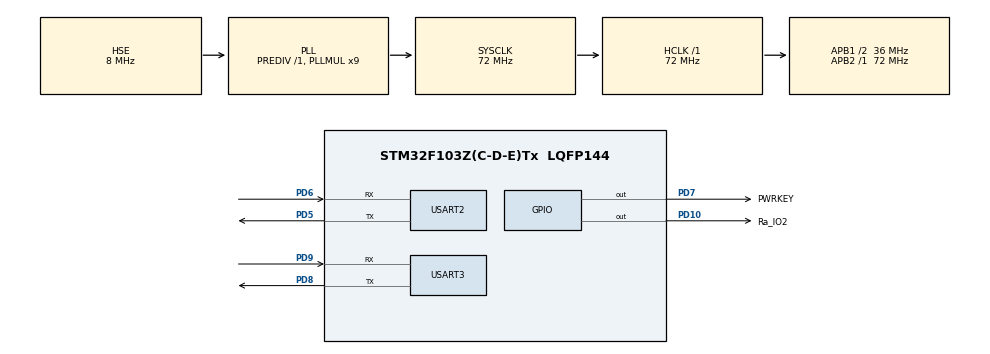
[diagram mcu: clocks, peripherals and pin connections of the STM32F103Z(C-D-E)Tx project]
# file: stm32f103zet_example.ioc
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Dma.Request0=USART2_RX
Dma.Request1=USART3_RX
Dma.USART2_RX.0.Direction=DMA_PERIPH_TO_MEMORY
Dma.USART2_RX.0.Instance=DMA1_Channel6
Dma.USART2_RX.0.MemDataAlignment=DMA_MDATAALIGN_BYTE
Dma.USART2_RX.0.MemInc=DMA_MINC_ENABLE
Dma.USART2_RX.0.Mode=DMA_NORMAL
Dma.USART2_RX.0.PeriphDataAlignment=DMA_PDATAALIGN_BYTE
Dma.USART2_RX.0.PeriphInc=DMA_PINC_DISABLE
Dma.USART2_RX.0.Priority=DMA_PRIORITY_LOW
Dma.USART3_RX.1.Direction=DMA_PERIPH_TO_MEMORY
Dma.USART3_RX.1.Instance=DMA1_Channel3
Dma.USART3_RX.1.MemDataAlignment=DMA_MDATAALIGN_BYTE
Dma.USART3_RX.1.MemInc=DMA_MINC_ENABLE
Dma.USART3_RX.1.Mode=DMA_NORMAL
Dma.USART3_RX.1.PeriphDataAlignment=DMA_PDATAALIGN_BYTE
Dma.USART3_RX.1.PeriphInc=DMA_PINC_DISABLE
Dma.USART3_RX.1.Priority=DMA_PRIORITY_HIGH
Mcu.Family=STM32F1
Mcu.Name=STM32F103Z(C-D-E)Tx
Mcu.Package=LQFP144
NVIC.DMA1_Channel3_IRQn=true\:0\:0\:false\:false\:true\:false\:true\:true
NVIC.DMA1_Channel6_IRQn=true\:4\:0\:true\:false\:true\:false\:true\:true
NVIC.PriorityGroup=NVIC_PRIORITYGROUP_4
NVIC.USART2_IRQn=true\:4\:0\:true\:false\:true\:true\:true\:true
OSC_IN.Mode=HSE-External-Oscillator
OSC_IN.Signal=RCC_OSC_IN
OSC_OUT.Mode=HSE-External-Oscillator
OSC_OUT.Signal=RCC_OSC_OUT
PA13.Mode=Serial_Wire
PA13.Signal=SYS_JTMS-SWDIO
PA14.Mode=Serial_Wire
PA14.Signal=SYS_JTCK-SWCLK
PD10.GPIO_Label=Ra_IO2
PD10.Signal=GPIO_Output
PD5.Mode=Asynchronous
PD5.Signal=USART2_TX
PD6.Mode=Asynchronous
PD6.Signal=USART2_RX
PD7.GPIO_Label=PWRKEY
PD7.GPIO_ModeDefaultOutputPP=GPIO_MODE_OUTPUT_OD
PD7.GPIO_PuPd=GPIO_NOPULL
PD7.PinState=GPIO_PIN_RESET
PD7.Signal=GPIO_Output
PD8.Mode=Asynchronous
PD8.Signal=USART3_TX
PD9.Mode=Asynchronous
PD9.Signal=USART3_RX
ProjectManager.HeapSize=0x200
ProjectManager.StackSize=0x400
ProjectManager.TargetToolchain=MDK-ARM V5.32
RCC.AHBFreq_Value=72000000
RCC.APB1CLKDivider=RCC_HCLK_DIV2
RCC.APB1Freq_Value=36000000
RCC.APB1TimFreq_Value=72000000
RCC.APB2Freq_Value=72000000
RCC.APB2TimFreq_Value=72000000
RCC.HCLKFreq_Value=72000000
RCC.PLLMUL=RCC_PLL_MUL9
RCC.PLLSourceVirtual=RCC_PLLSOURCE_HSE
RCC.SYSCLKFreq_VALUE=72000000
RCC.SYSCLKSource=RCC_SYSCLKSOURCE_PLLCLK
RCC.USBFreq_Value=72000000
USART2.VirtualMode=VM_ASYNC
USART3.VirtualMode=VM_ASYNC
board=custom

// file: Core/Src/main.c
/* USER CODE BEGIN Header */
/**
  ******************************************************************************
  * @file           : main.c
  * @brief          : Main program body
  ******************************************************************************
  * @attention
  *
  * Copyright (c) 2026 STMicroelectronics.
  * All rights reserved.
  *
  * This software is licensed under terms that can be found in the LICENSE file
  * in the root directory of this software component.
  * If no LICENSE file comes with this software, it is provided AS-IS.
  *
  ******************************************************************************
  */
/* USER CODE END Header */
#include "main.h"
#include "dma.h"
#include "usart.h"
#include "gpio.h"

void SystemClock_Config(void);

/* USER CODE BEGIN 0 */
 uint32_t last_1ms = 0, last_10ms = 0, last_100ms = 0;
/* USER CODE END 0 */

int main(void)
{

  /* MCU Configuration--------------------------------------------------------*/

  /* Reset of all peripherals, Initializes the Flash interface and the Systick. */
  HAL_Init();

  /* Configure the system clock */
  SystemClock_Config();

  /* Initialize all configured peripherals */
  MX_GPIO_Init();
  MX_DMA_Init();
  MX_USART2_UART_Init();
  MX_USART3_UART_Init();
  /* USER CODE BEGIN 2 */

#if A7680C_ENABLE
  //a7680c_Init();
  U2_Init();
#endif
  /* USER CODE END 2 */

  /* Infinite loop */
  while (1)
  {

    /* USER CODE BEGIN 3 */
    uint32_t now = HAL_GetTick();
    if (now - last_1ms >= 1)
    {
        last_1ms = now;
        // 1ms 任务
    }
    now = HAL_GetTick();
    if (now - last_10ms >= 10)
    {
        last_10ms = now;
        // 10ms 任务
    }
    now = HAL_GetTick();
    if (now - last_100ms >= 100)
    {
        last_100ms = now;

#if A7680C_ENABLE
        //a7680c_Task();
        RingBuff_Process(&U2_RX_CB,u2_databuf,U2_DMARx_Size,U2_RxText_CallBack);
#endif
    }
  }
  /* USER CODE END 3 */
}

void SystemClock_Config(void)
{
  RCC_OscInitTypeDef RCC_OscInitStruct = {0};
  RCC_ClkInitTypeDef RCC_ClkInitStruct = {0};

  /** Initializes the RCC Oscillators according to the specified parameters
  * in the RCC_OscInitTypeDef structure.
  */
  RCC_OscInitStruct.OscillatorType = RCC_OSCILLATORTYPE_HSE;
  RCC_OscInitStruct.HSEState = RCC_HSE_ON;
  RCC_OscInitStruct.HSEPredivValue = RCC_HSE_PREDIV_DIV1;
  RCC_OscInitStruct.HSIState = RCC_HSI_ON;
  RCC_OscInitStruct.PLL.PLLState = RCC_PLL_ON;
  RCC_OscInitStruct.PLL.PLLSource = RCC_PLLSOURCE_HSE;
  RCC_OscInitStruct.PLL.PLLMUL = RCC_PLL_MUL9;
  if (HAL_RCC_OscConfig(&RCC_OscInitStruct) != HAL_OK)
  {
    Error_Handler();
  }

  /** Initializes the CPU, AHB and APB buses clocks
  */
  RCC_ClkInitStruct.ClockType = RCC_CLOCKTYPE_HCLK|RCC_CLOCKTYPE_SYSCLK
                              |RCC_CLOCKTYPE_PCLK1|RCC_CLOCKTYPE_PCLK2;
  RCC_ClkInitStruct.SYSCLKSource = RCC_SYSCLKSOURCE_PLLCLK;
  RCC_ClkInitStruct.AHBCLKDivider = RCC_SYSCLK_DIV1;
  RCC_ClkInitStruct.APB1CLKDivider = RCC_HCLK_DIV2;
  RCC_ClkInitStruct.APB2CLKDivider = RCC_HCLK_DIV1;

  if (HAL_RCC_ClockConfig(&RCC_ClkInitStruct, FLASH_LATENCY_2) != HAL_OK)
  {
    Error_Handler();
  }
}

void Error_Handler(void)
{
  __disable_irq();
  while (1)
  {
  }
}
